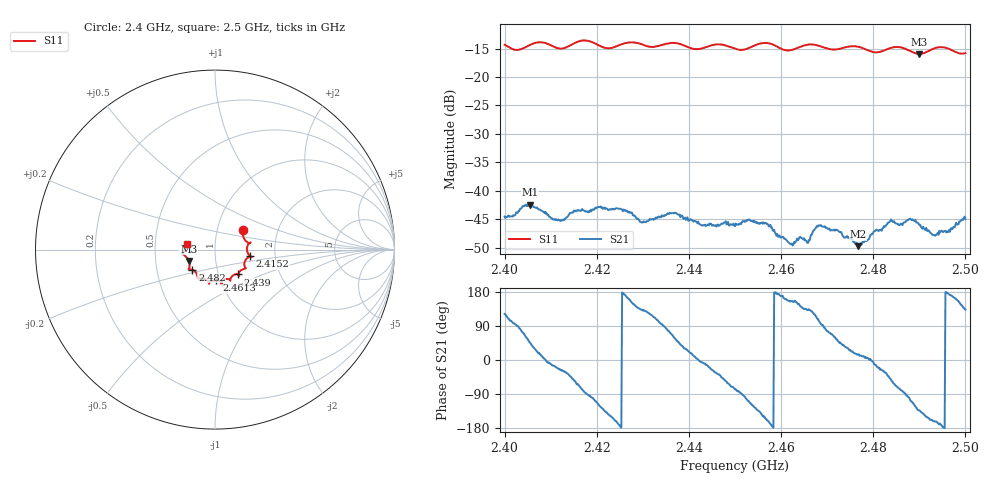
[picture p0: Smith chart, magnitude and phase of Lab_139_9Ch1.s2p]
# Hz S RI R 50
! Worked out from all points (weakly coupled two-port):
!   601 points, 2.4 GHz to 2.5 GHz, reference 50 ohm
!   highest |S21| = -42.43 dB at 2.4055 GHz (marker M1); lowest = -49.8 dB at 2.4767 GHz (marker M2)
!   lowest |S11| = -15.9 dB at 2.49 GHz (marker M3), VSWR 1.38, Z = 37 - j4.84 ohm
!   |S11| at or under -10 dB: start of sweep to end of sweep
!   S12 and S22 are empty: the file has one direction only
!   S11 on the Smith chart (normalised r, x): 2.4 GHz: 1.33, +0.31; 2.4152 GHz: 1.48, -0.11; 2.439 GHz: 1.24, -0.36; 2.4613 GHz: 0.96, -0.34; 2.482 GHz: 0.76, -0.17; 2.5 GHz: 0.72, +0.05
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2.4e9  0.1566 0.1111  -0.00311 0.00505  0 0  0 0
2.4055e9  0.1874 0.0374  0.00529 0.0054  0 0  0 0
2.411833e9  0.1777 0.00866  0.00497 -0.00231  0 0  0 0
2.415167e9  0.195 -0.0364  0.00379 -0.00536  0 0  0 0
2.416667e9  0.2043 -0.0425  0.00169 -0.00654  0 0  0 0
2.424833e9  0.1653 -0.094  -0.00685 -0.00111  0 0  0 0
2.429833e9  0.1604 -0.1078  -0.00356 0.00385  0 0  0 0
2.433333e9  0.1323 -0.1325  -0.00135 0.00567  0 0  0 0
2.439e9  0.1283 -0.1385  0.0049 0.00291  0 0  0 0
2.443167e9  0.0897 -0.156  0.00492 -0.000749  0 0  0 0
2.45e9  0.0689 -0.1635  0.00103 -0.00476  0 0  0 0
2.456667e9  0.0395 -0.1955  -0.00475 -0.00214  0 0  0 0
2.461333e9  0.00743 -0.1709  -0.00333 0.00136  0 0  0 0
2.465667e9  -0.0335 -0.189  -0.00232 0.0026  0 0  0 0
2.466667e9  -0.0335 -0.1903  -0.00258 0.0032  0 0  0 0
2.469e9  -0.0361 -0.1799  -0.00022 0.00482  0 0  0 0
2.476667e9  -0.0955 -0.1581  0.00315 0.00081  0 0  0 0
2.482e9  -0.1262 -0.1118  0.00411 -0.00216  0 0  0 0
2.483333e9  -0.1393 -0.1097  0.00386 -0.00356  0 0  0 0
2.49e9  -0.1461 -0.0638  -0.00339 -0.00367  0 0  0 0
2.493333e9  -0.1771 -0.0262  -0.00384 -0.00126  0 0  0 0
2.5e9  -0.1586 0.0328  -0.00388 0.00413  0 0  0 0
